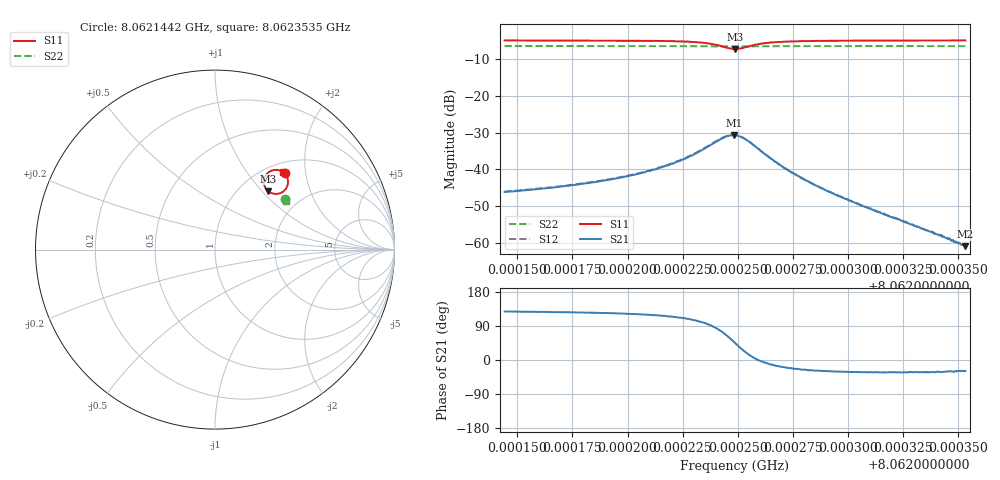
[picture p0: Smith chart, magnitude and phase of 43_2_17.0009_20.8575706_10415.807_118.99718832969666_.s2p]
#  HZ  S  RI  R  50.00
! Rohde & Schwarz Vector Network Analyzer
! Rohde-Schwarz,ZNB20-2Port,1311601062101988,3.16
! Created: UTC 3/20/2024, 10:53:59 PM
! freq[Hz]  re:S11  im:S11  re:S21  im:S21  re:S12  im:S12  re:S22  im:S22
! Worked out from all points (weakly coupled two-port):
!   401 points, 8.0621442 GHz to 8.0623535 GHz, reference 50 ohm
!   highest |S21| = -30.65 dB at 8.0622483 GHz (marker M1); lowest = -61.0 dB at 8.0623535 GHz (marker M2)
!   lowest |S11| = -7.1 dB at 8.0622488 GHz (marker M3), VSWR 2.57, Z = 66.9 + j54.1 ohm
!   |S11| at or under -10 dB: nowhere
!   |S22| runs from -6.5 to -6.3 dB; largest |S21 - S12| = 0.0025
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8.06214416e9  0.388 0.4246  -0.00302 0.00388  -0.00283 0.0041  0.3905 0.2823
8.06216561e9  0.3914 0.4207  -0.00337 0.00452  -0.00312 0.00477  0.3912 0.2811
8.06217922e9  0.394 0.4173  -0.00367 0.00518  -0.00341 0.00547  0.3916 0.2804
8.06219702e9  0.3981 0.4106  -0.00418 0.0065  -0.0038 0.00685  0.3925 0.2794
8.06220696e9  0.4012 0.4045  -0.00452 0.00781  -0.00411 0.00819  0.3927 0.2787
8.06221429e9  0.4039 0.3978  -0.00483 0.00933  -0.00427 0.00983  0.393 0.2779
8.06222632e9  0.407 0.3783  -0.00475 0.0132  -0.00399 0.0138  0.3931 0.2763
8.06223679e9  0.3969 0.3418  -0.00134 0.0206  7.09e-05 0.0211  0.3925 0.2745
8.0622436e9  0.3545 0.3116  0.00858 0.0256  0.0107 0.0253  0.3904 0.2736
8.06224569e9  0.3312 0.3104  0.0135 0.0252  0.0157 0.0243  0.3895 0.274
8.06224831e9  0.3012 0.3219  0.0195 0.0219  0.0215 0.0203  0.3886 0.2747
8.06224883e9  0.2957 0.3261  0.0208 0.0207  0.0224 0.0191  0.3884 0.2749
8.06225302e9  0.2725 0.371  0.0243 0.0105  0.0249 0.00856  0.3884 0.2771
8.0622572e9  0.2804 0.4095  0.0213 0.00239  0.0215 0.000921  0.3894 0.2783
8.06226139e9  0.2982 0.4303  0.0171 -0.0015  0.0169 -0.00259  0.3906 0.2785
8.06227186e9  0.3318 0.4442  0.00972 -0.00342  0.00927 -0.00406  0.3924 0.2781
8.0622839e9  0.351 0.4436  0.00568 -0.00292  0.00553 -0.00326  0.3936 0.2772
8.06229646e9  0.3616 0.441  0.0037 -0.00217  0.00358 -0.00237  0.3943 0.2765
8.06231896e9  0.3714 0.4368  0.00194 -0.00121  0.00185 -0.00137  0.3955 0.2751
8.06233676e9  0.376 0.4342  0.00121 -0.00078  0.00119 -0.000832  0.3962 0.2741
8.06234147e9  0.377 0.4336  0.00109 -0.00066  0.00103 -0.000736  0.3963 0.2738
8.0623535e9  0.3791 0.4321  0.000785 -0.000431  0.000768 -0.00049  0.3966 0.2731
